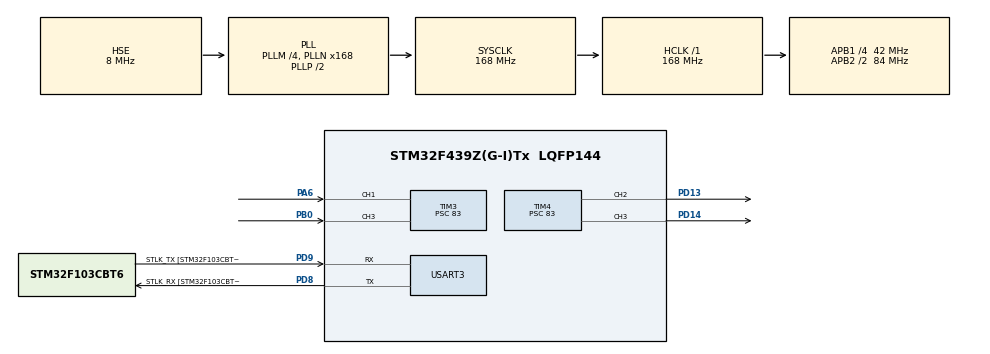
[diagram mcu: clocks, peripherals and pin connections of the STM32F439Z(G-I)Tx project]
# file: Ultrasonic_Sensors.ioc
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Mcu.Family=STM32F4
Mcu.Name=STM32F439Z(G-I)Tx
Mcu.Package=LQFP144
NVIC.PriorityGroup=NVIC_PRIORITYGROUP_4
NVIC.TIM3_IRQn=true\:0\:0\:false\:false\:true\:true\:true\:true
PA6.Signal=S_TIM3_CH1
PB0.Signal=S_TIM3_CH3
PC14/OSC32_IN.Mode=LSE-External-Oscillator
PC14/OSC32_IN.Signal=RCC_OSC32_IN
PC15/OSC32_OUT.Mode=LSE-External-Oscillator
PC15/OSC32_OUT.Signal=RCC_OSC32_OUT
PD13.Signal=S_TIM4_CH2
PD14.Signal=S_TIM4_CH3
PD8.GPIO_Label=STLK_RX [STM32F103CBT6_PA3]
PD8.Mode=Asynchronous
PD8.Signal=USART3_TX
PD9.GPIO_Label=STLK_TX [STM32F103CBT6_PA2]
PD9.Mode=Asynchronous
PD9.Signal=USART3_RX
PH0/OSC_IN.GPIO_Label=MCO [STM32F103CBT6_PA8]
PH0/OSC_IN.Mode=HSE-External-Clock-Source
PH0/OSC_IN.Signal=RCC_OSC_IN
PH1/OSC_OUT.Mode=HSE-External-Clock-Source
PH1/OSC_OUT.Signal=RCC_OSC_OUT
ProjectManager.HeapSize=0x200
ProjectManager.StackSize=0x400
ProjectManager.TargetToolchain=STM32CubeIDE
RCC.48MHZClocksFreq_Value=48000000
RCC.AHBFreq_Value=168000000
RCC.APB1CLKDivider=RCC_HCLK_DIV4
RCC.APB1Freq_Value=42000000
RCC.APB1TimFreq_Value=84000000
RCC.APB2CLKDivider=RCC_HCLK_DIV2
RCC.APB2Freq_Value=84000000
RCC.APB2TimCLKDivider=2
RCC.APB2TimFreq_Value=168000000
RCC.CortexFreq_Value=168000000
RCC.HCLKFreq_Value=168000000
RCC.HSE_VALUE=8000000
RCC.HSI_VALUE=16000000
RCC.PLLM=4
RCC.PLLMUL=RCC_PLL_MUL9
RCC.PLLN=168
RCC.PLLQ=7
RCC.PLLSourceVirtual=RCC_PLLSOURCE_HSE
RCC.PRESCALERUSB=RCC_USBCLKSOURCE_PLL_DIV1_5
RCC.SYSCLKFreq_VALUE=168000000
RCC.SYSCLKSource=RCC_SYSCLKSOURCE_PLLCLK
RCC.SYSCLKSourceVirtual=RCC_SYSCLKSOURCE_PLLCLK
RCC.USBFreq_Value=48000000
RCC.VCOOutputFreq_Value=336000000
SH.S_TIM3_CH1.0=TIM3_CH1,Input_Capture1_from_TI1
SH.S_TIM3_CH3.0=TIM3_CH3,Input_Capture3_from_TI3
SH.S_TIM4_CH2.0=TIM4_CH2,PWM Generation2 CH2
SH.S_TIM4_CH3.0=TIM4_CH3,PWM Generation3 CH3
TIM3.Channel-Input_Capture1_from_TI1=TIM_CHANNEL_1
TIM3.Channel-Input_Capture3_from_TI3=TIM_CHANNEL_3
TIM3.Prescaler=83
TIM4.AutoReloadPreload=TIM_AUTORELOAD_PRELOAD_DISABLE
TIM4.Channel-PWM\ Generation2\ CH2=TIM_CHANNEL_2
TIM4.Channel-PWM\ Generation3\ CH3=TIM_CHANNEL_3
TIM4.Period=49
TIM4.Prescaler=83
TIM4.Pulse-PWM\ Generation2\ CH2=10
TIM4.Pulse-PWM\ Generation3\ CH3=10
USART3.VirtualMode=VM_ASYNC
VP_TIM4_VS_OPM.Mode=OPM_bit
board=NUCLEO-F439ZI

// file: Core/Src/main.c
/* USER CODE BEGIN Header */
/**
  ******************************************************************************
  * @file           : main.c
  * @brief          : Main program body
  ******************************************************************************
  * @attention
  *
  * Copyright (c) 2025 STMicroelectronics.
  * All rights reserved.
  *
  * This software is licensed under terms that can be found in the LICENSE file
  * in the root directory of this software component.
  * If no LICENSE file comes with this software, it is provided AS-IS.
  *
  ******************************************************************************
  */
/* USER CODE END Header */
#include "main.h"

/* USER CODE BEGIN Includes */
#include "ultrasonic_sensor_driver.h"
#include <stdio.h>
/* USER CODE END Includes */

TIM_HandleTypeDef htim3;
TIM_HandleTypeDef htim4;

UART_HandleTypeDef huart3;

void SystemClock_Config(void);
static void MX_GPIO_Init(void);
static void MX_TIM3_Init(void);
static void MX_TIM4_Init(void);
static void MX_USART3_UART_Init(void);

/* USER CODE BEGIN 0 */
extern UART_HandleTypeDef huart3;
int _write(int file, char *ptr, int len) {
    HAL_UART_Transmit(&huart3, (uint8_t*)ptr, len, HAL_MAX_DELAY);
    return len;
}

ultrasonic_Handle_t right_ultrasonic_sensor;
ultrasonic_Handle_t left_ultrasonic_sensor;
/* USER CODE END 0 */

int main(void)
{

  /* MCU Configuration--------------------------------------------------------*/

  /* Reset of all peripherals, Initializes the Flash interface and the Systick. */
  HAL_Init();

  /* Configure the system clock */
  SystemClock_Config();

  /* Initialize all configured peripherals */
  MX_GPIO_Init();
  MX_TIM3_Init();
  MX_TIM4_Init();
  MX_USART3_UART_Init();
  /* USER CODE BEGIN 2 */

  right_ultrasonic_sensor.htim_echo = &htim3;
  right_ultrasonic_sensor.echo_channel = TIM_CHANNEL_1;
  right_ultrasonic_sensor.htim_trig = &htim4;
  right_ultrasonic_sensor.trig_channel = TIM_CHANNEL_2;
  Ultrasonic_Sensor_Init(&right_ultrasonic_sensor);

  left_ultrasonic_sensor.htim_echo = &htim3;
  left_ultrasonic_sensor.echo_channel = TIM_CHANNEL_3;
  left_ultrasonic_sensor.htim_trig = &htim4;
  left_ultrasonic_sensor.trig_channel = TIM_CHANNEL_3;
  Ultrasonic_Sensor_Init(&left_ultrasonic_sensor);
  uint32_t last_trigger = 0;
  float distance_right = 0.0f;
  float distance_left  = 0.0f;
  const float THRESHOLD = 20.0f;   // example, choose your value
  rover_state_t state = MEASURE_RIGHT;
  const uint32_t TRIGGER_INTERVAL = 60;
  printf("Waiting for ultrasonic sensors.\n");
  /* USER CODE END 2 */

  /* Infinite loop */
  /* USER CODE BEGIN WHILE */
  /* Infinite loop */
    while (1)
        {
      	switch(state){
      	  case MEASURE_RIGHT:
      	  {
      		  uint32_t now = HAL_GetTick();
      		  if(now - last_trigger >= TRIGGER_INTERVAL){
      			  if(Ultrasonic_Trigger(&right_ultrasonic_sensor) == ULTRASONIC_OK){
      				  last_trigger = now;
      			  }
      		  }
      		  if(Ultrasonic_IsReady(&right_ultrasonic_sensor)){
      			  distance_right = Ultrasonic_GetDistance(&right_ultrasonic_sensor);
      			  state = MEASURE_LEFT;
      		  }
      	  }
      	  break;
      	  case MEASURE_LEFT:
      	  {

      		  uint32_t now = HAL_GetTick();
      		  if(now - last_trigger >= TRIGGER_INTERVAL){
      			  if(Ultrasonic_Trigger(&left_ultrasonic_sensor) == ULTRASONIC_OK){
      				  last_trigger = now;
      			  }
      		  }
      		  if(Ultrasonic_IsReady(&left_ultrasonic_sensor)){
      			  distance_left = Ultrasonic_GetDistance(&left_ultrasonic_sensor);
      			  state = FIND_ROUTE;
      		  }
      	  }
      	  break;
      	  case FIND_ROUTE:
      	  {
      		  if(distance_right >= THRESHOLD && distance_left >= THRESHOLD){
      			  printf("Continue straight\r\n");
      		  }
      		  else if(distance_right >= distance_left){
      			  printf("Go right!\r\n");
      		  }
      		  else{
      			  printf("Go left!\r\n");
      		  }
      		  state = MEASURE_RIGHT;
      	  }
      	  break;
      	}

        }

}

void SystemClock_Config(void)
{
  RCC_OscInitTypeDef RCC_OscInitStruct = {0};
  RCC_ClkInitTypeDef RCC_ClkInitStruct = {0};

  /** Configure the main internal regulator output voltage
  */
  __HAL_RCC_PWR_CLK_ENABLE();
  __HAL_PWR_VOLTAGESCALING_CONFIG(PWR_REGULATOR_VOLTAGE_SCALE1);

  /** Initializes the RCC Oscillators according to the specified parameters
  * in the RCC_OscInitTypeDef structure.
  */
  RCC_OscInitStruct.OscillatorType = RCC_OSCILLATORTYPE_HSE;
  RCC_OscInitStruct.HSEState = RCC_HSE_BYPASS;
  RCC_OscInitStruct.PLL.PLLState = RCC_PLL_ON;
  RCC_OscInitStruct.PLL.PLLSource = RCC_PLLSOURCE_HSE;
  RCC_OscInitStruct.PLL.PLLM = 4;
  RCC_OscInitStruct.PLL.PLLN = 168;
  RCC_OscInitStruct.PLL.PLLP = RCC_PLLP_DIV2;
  RCC_OscInitStruct.PLL.PLLQ = 7;
  if (HAL_RCC_OscConfig(&RCC_OscInitStruct) != HAL_OK)
  {
    Error_Handler();
  }

  /** Initializes the CPU, AHB and APB buses clocks
  */
  RCC_ClkInitStruct.ClockType = RCC_CLOCKTYPE_HCLK|RCC_CLOCKTYPE_SYSCLK
                              |RCC_CLOCKTYPE_PCLK1|RCC_CLOCKTYPE_PCLK2;
  RCC_ClkInitStruct.SYSCLKSource = RCC_SYSCLKSOURCE_PLLCLK;
  RCC_ClkInitStruct.AHBCLKDivider = RCC_SYSCLK_DIV1;
  RCC_ClkInitStruct.APB1CLKDivider = RCC_HCLK_DIV4;
  RCC_ClkInitStruct.APB2CLKDivider = RCC_HCLK_DIV2;

  if (HAL_RCC_ClockConfig(&RCC_ClkInitStruct, FLASH_LATENCY_5) != HAL_OK)
  {
    Error_Handler();
  }
}

static void MX_TIM3_Init(void)
{

  TIM_MasterConfigTypeDef sMasterConfig = {0};
  TIM_IC_InitTypeDef sConfigIC = {0};

  htim3.Instance = TIM3;
  htim3.Init.Prescaler = 83;
  htim3.Init.CounterMode = TIM_COUNTERMODE_UP;
  htim3.Init.Period = 65535;
  htim3.Init.ClockDivision = TIM_CLOCKDIVISION_DIV1;
  htim3.Init.AutoReloadPreload = TIM_AUTORELOAD_PRELOAD_DISABLE;
  if (HAL_TIM_IC_Init(&htim3) != HAL_OK)
  {
    Error_Handler();
  }
  sMasterConfig.MasterOutputTrigger = TIM_TRGO_RESET;
  sMasterConfig.MasterSlaveMode = TIM_MASTERSLAVEMODE_DISABLE;
  if (HAL_TIMEx_MasterConfigSynchronization(&htim3, &sMasterConfig) != HAL_OK)
  {
    Error_Handler();
  }
  sConfigIC.ICPolarity = TIM_INPUTCHANNELPOLARITY_RISING;
  sConfigIC.ICSelection = TIM_ICSELECTION_DIRECTTI;
  sConfigIC.ICPrescaler = TIM_ICPSC_DIV1;
  sConfigIC.ICFilter = 0;
  if (HAL_TIM_IC_ConfigChannel(&htim3, &sConfigIC, TIM_CHANNEL_1) != HAL_OK)
  {
    Error_Handler();
  }
  if (HAL_TIM_IC_ConfigChannel(&htim3, &sConfigIC, TIM_CHANNEL_3) != HAL_OK)
  {
    Error_Handler();
  }

}

static void MX_TIM4_Init(void)
{

  TIM_MasterConfigTypeDef sMasterConfig = {0};
  TIM_OC_InitTypeDef sConfigOC = {0};

  htim4.Instance = TIM4;
  htim4.Init.Prescaler = 83;
  htim4.Init.CounterMode = TIM_COUNTERMODE_UP;
  htim4.Init.Period = 49;
  htim4.Init.ClockDivision = TIM_CLOCKDIVISION_DIV1;
  htim4.Init.AutoReloadPreload = TIM_AUTORELOAD_PRELOAD_DISABLE;
  if (HAL_TIM_PWM_Init(&htim4) != HAL_OK)
  {
    Error_Handler();
  }
  if (HAL_TIM_OnePulse_Init(&htim4, TIM_OPMODE_SINGLE) != HAL_OK)
  {
    Error_Handler();
  }
  sMasterConfig.MasterOutputTrigger = TIM_TRGO_RESET;
  sMasterConfig.MasterSlaveMode = TIM_MASTERSLAVEMODE_DISABLE;
  if (HAL_TIMEx_MasterConfigSynchronization(&htim4, &sMasterConfig) != HAL_OK)
  {
    Error_Handler();
  }
  sConfigOC.OCMode = TIM_OCMODE_PWM1;
  sConfigOC.Pulse = 10;
  sConfigOC.OCPolarity = TIM_OCPOLARITY_HIGH;
  sConfigOC.OCFastMode = TIM_OCFAST_DISABLE;
  if (HAL_TIM_PWM_ConfigChannel(&htim4, &sConfigOC, TIM_CHANNEL_2) != HAL_OK)
  {
    Error_Handler();
  }
  if (HAL_TIM_PWM_ConfigChannel(&htim4, &sConfigOC, TIM_CHANNEL_3) != HAL_OK)
  {
    Error_Handler();
  }
  HAL_TIM_MspPostInit(&htim4);

}

static void MX_USART3_UART_Init(void)
{

  huart3.Instance = USART3;
  huart3.Init.BaudRate = 115200;
  huart3.Init.WordLength = UART_WORDLENGTH_8B;
  huart3.Init.StopBits = UART_STOPBITS_1;
  huart3.Init.Parity = UART_PARITY_NONE;
  huart3.Init.Mode = UART_MODE_TX_RX;
  huart3.Init.HwFlowCtl = UART_HWCONTROL_NONE;
  huart3.Init.OverSampling = UART_OVERSAMPLING_16;
  if (HAL_UART_Init(&huart3) != HAL_OK)
  {
    Error_Handler();
  }

}

static void MX_GPIO_Init(void)
{

  /* GPIO Ports Clock Enable */
  __HAL_RCC_GPIOC_CLK_ENABLE();
  __HAL_RCC_GPIOH_CLK_ENABLE();
  __HAL_RCC_GPIOA_CLK_ENABLE();
  __HAL_RCC_GPIOB_CLK_ENABLE();
  __HAL_RCC_GPIOD_CLK_ENABLE();

}

void Error_Handler(void)
{
  __disable_irq();
  while (1)
  {
  }
}
